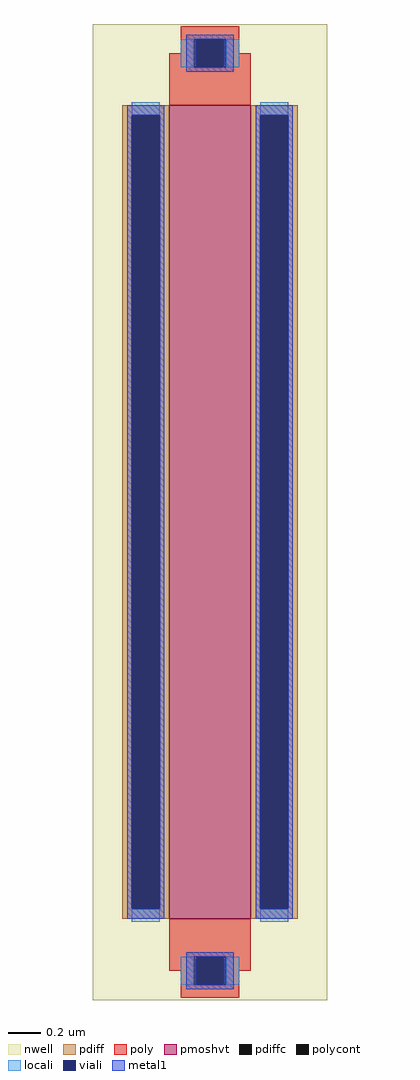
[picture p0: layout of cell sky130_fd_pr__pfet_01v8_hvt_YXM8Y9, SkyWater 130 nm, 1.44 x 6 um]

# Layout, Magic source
magic
tech sky130A
magscale 1 2
<< nwell >>
rect -144 -600 144 600
<< pmoshvt >>
rect -50 -500 50 500
<< pdiff >>
rect -108 488 -50 500
rect -108 -488 -96 488
rect -62 -488 -50 488
rect -108 -500 -50 -488
rect 50 488 108 500
rect 50 -488 62 488
rect 96 -488 108 488
rect 50 -500 108 -488
<< pdiffc >>
rect -96 -488 -62 488
rect 62 -488 96 488
<< poly >>
rect -36 581 36 597
rect -36 564 -20 581
rect -50 547 -20 564
rect 20 564 36 581
rect 20 547 50 564
rect -50 500 50 547
rect -50 -547 50 -500
rect -50 -564 -20 -547
rect -36 -581 -20 -564
rect 20 -564 50 -547
rect 20 -581 36 -564
rect -36 -597 36 -581
<< polycont >>
rect -20 547 20 581
rect -20 -581 20 -547
<< locali >>
rect -36 547 -20 581
rect 20 547 36 581
rect -96 488 -62 504
rect -96 -504 -62 -488
rect 62 488 96 504
rect 62 -504 96 -488
rect -36 -581 -20 -547
rect 20 -581 36 -547
<< viali >>
rect -17 547 17 581
rect -96 -488 -62 488
rect 62 -488 96 488
rect -17 -581 17 -547
<< metal1 >>
rect -29 581 29 587
rect -29 547 -17 581
rect 17 547 29 581
rect -29 541 29 547
rect -102 488 -56 500
rect -102 -488 -96 488
rect -62 -488 -56 488
rect -102 -500 -56 -488
rect 56 488 102 500
rect 56 -488 62 488
rect 96 -488 102 488
rect 56 -500 102 -488
rect -29 -547 29 -541
rect -29 -581 -17 -547
rect 17 -581 29 -547
rect -29 -587 29 -581
<< properties >>
string gencell sky130_fd_pr__pfet_01v8_hvt
string parameters w 5 l 0.5 m 1 nf 1 diffcov 100 polycov 60 guard 0 glc 0 grc 0 gtc 0 gbc 0 tbcov 100 rlcov 100 topc 1 botc 1 poverlap 0 doverlap 1 lmin 0.15 wmin 0.42 compatible {sky130_fd_pr__pfet_01v8  sky130_fd_pr__pfet_01v8_lvt sky130_fd_pr__pfet_01v8_hvt  sky130_fd_pr__pfet_g5v0d10v5} full_metal 0 viasrc 100 viadrn 100 viagate 40 viagb 0 viagr 0 viagl 0 viagt 0
string library sky130
<< end >>
